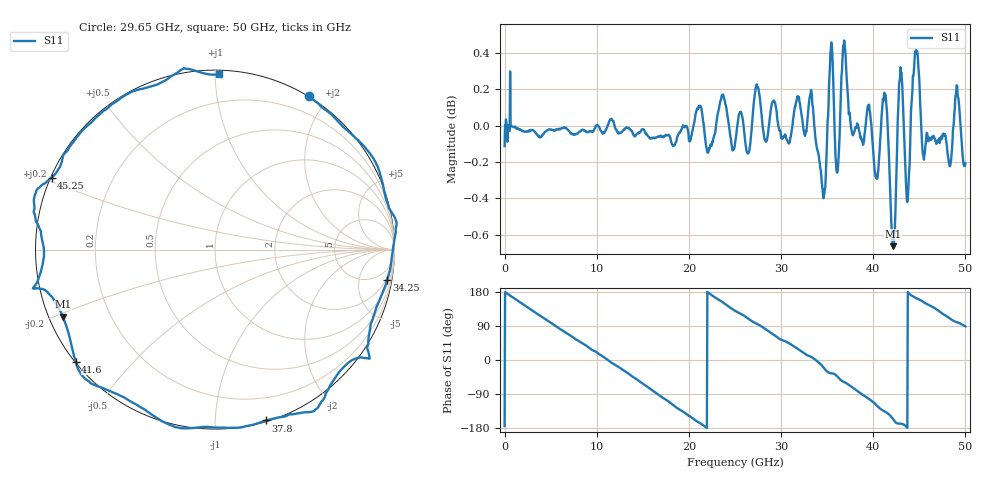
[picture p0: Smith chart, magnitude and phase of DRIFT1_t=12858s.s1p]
!Created with skrf (http://scikit-rf.org).
# Hz S RI R 50.0
!freq ReS11 ImS11
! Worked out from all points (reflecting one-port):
!   1001 points, 300 kHz to 50 GHz, reference 50 ohm
!   lowest |S11| = -0.7 dB at 42.15 GHz (marker M1), VSWR 26.23, Z = 1.99 - j10.5 ohm
!   phase of S11 starts at -174 deg and turns -817 deg over the sweep
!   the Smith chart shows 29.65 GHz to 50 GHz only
!   S11 on the Smith chart (normalised r, x): 29.65 GHz: -0.00, +1.79; 34.25 GHz: 2, -11; 37.8 GHz: 0.01, -1.34; 41.6 GHz: 0.00, -0.35; 45.25 GHz: 0.00, +0.21; 50 GHz: 0.02, +1.03
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300000  -0.9824 -0.0963
1.500291e9  -0.9057 0.4187
3.30028e9  -0.5805 0.8095
6.250262e9  0.2027 0.9777
9.500243e9  0.8925 0.4423
1.250022e10  0.9316 -0.3503
1.580021e10  0.2366 -0.9632
1.73502e10  -0.2124 -0.9703
1.875019e10  -0.5996 -0.7917
2.150017e10  -0.9935 -0.1493
2.350016e10  -0.9226 0.428
2.500015e10  -0.6337 0.7585
2.740014e10  -0.0943 1.02
2.965012e10  0.5244 0.8538
3.125011e10  0.7861 0.6189
3.31001e10  1.003 0.1765
3.425009e10  0.9591 -0.1675
3.520009e10  0.8543 -0.5672
3.750008e10  0.3712 -0.9326
3.780007e10  0.285 -0.9521
3.955006e10  -0.222 -0.9887
4.160005e10  -0.7765 -0.6235
4.215005e10  -0.8476 -0.3742
4.290004e10  -1.008 -0.2136
4.375004e10  -0.954 0.0123
4.525003e10  -0.9103 0.401
4.770001e10  -0.4886 0.8664
5e10  0.0245 0.9761
